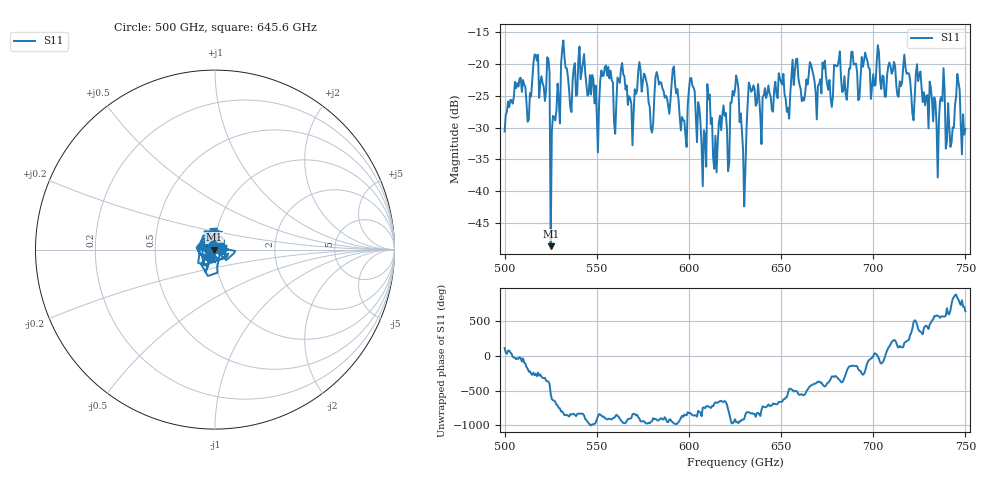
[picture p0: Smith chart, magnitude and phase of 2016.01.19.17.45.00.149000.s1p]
!Created with skrf (http://scikit-rf.org).
# GHz S RI R 50.0
!freq ReS11 ImS11
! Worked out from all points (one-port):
!   401 points, 500 GHz to 750 GHz, reference 50 ohm
!   lowest |S11| = -48.6 dB at 525 GHz (marker M1), VSWR 1.01, Z = 49.6 + j0.0458 ohm
!   |S11| at or under -10 dB: start of sweep to end of sweep
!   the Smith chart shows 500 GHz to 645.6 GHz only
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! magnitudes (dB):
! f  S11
! 500 GHz  -30.6
! 506.9 GHz  -23.0
! 513.1 GHz  -28.8
! 516.9 GHz  -18.6
! 523.1 GHz  -19.0
! 525 GHz  -48.6
! 526.2 GHz  -28.2
! 531.2 GHz  -17.8
! 550 GHz  -27.8
! 562.5 GHz  -23.0
! 568.8 GHz  -26.3
! 573.8 GHz  -21.0
! 579.4 GHz  -30.2
! 583.1 GHz  -22.1
! 593.8 GHz  -24.0
! 597.5 GHz  -28.9
! 601.9 GHz  -23.4
! 608.1 GHz  -30.4
! 611.2 GHz  -24.8
! 614.4 GHz  -31.3
! 625 GHz  -24.1
! 630 GHz  -42.4
! 633.8 GHz  -24.4
! 656.2 GHz  -19.4
! 687.5 GHz  -20.8
! 718.8 GHz  -21.5
! 745.6 GHz  -21.6
! 750 GHz  -30.2
